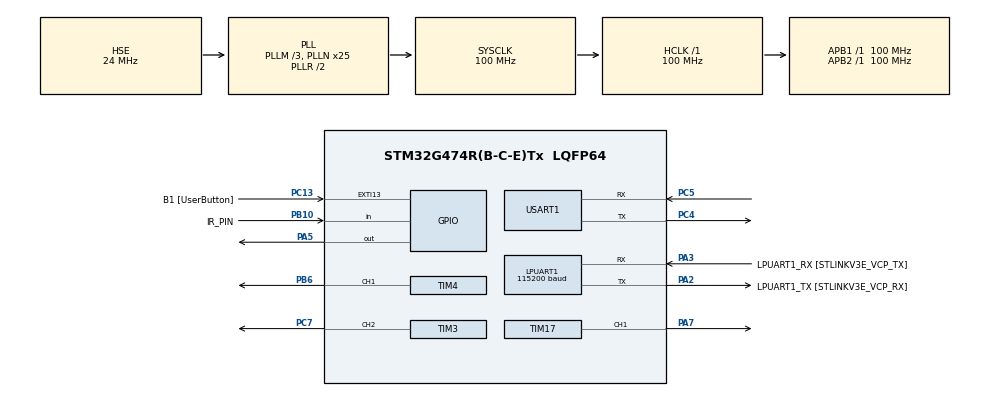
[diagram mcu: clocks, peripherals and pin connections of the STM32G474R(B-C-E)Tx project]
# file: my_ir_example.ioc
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Mcu.Family=STM32G4
TIM17.Prescaler=10*1000
RCC.CortexFreq_Value=100000000
VP_TIM17_VS_ClockSourceINT.Mode=Enable_Timer
PA14.GPIO_Label=T_SWCLK
LPUART1.WordLength=UART_WORDLENGTH_8B
PC5.Mode=Asynchronous
PC13.GPIO_Label=B1 [UserButton]
RCC.SYSCLKSource=RCC_SYSCLKSOURCE_PLLCLK
ProjectManager.StackSize=0x400
TIM17.PeriodNoDither=10*1000
RCC.HCLKFreq_Value=100000000
RCC.APB2TimFreq_Value=100000000
PB6.Signal=S_TIM4_CH1
PC7.Signal=S_TIM3_CH2
RCC.AHBFreq_Value=100000000
NVIC.EXTI15_10_IRQn=true\:0\:0\:false\:false\:true\:true\:true
RCC.HSE_VALUE=24000000
TIM17.Channel=TIM_CHANNEL_1
RCC.ADC12Freq_Value=100000000
RCC.RTCClockSelection=RCC_RTCCLKSOURCE_LSE
TIM2.PeriodNoDither=10*1000-1
PC14-OSC32_IN.Mode=LSE-External-Oscillator
PA14.Mode=Serial_Wire
TIM3.Prescaler=10*1000
NVIC.TIM2_IRQn=true\:0\:0\:false\:false\:true\:true\:true
VP_SYS_VS_DBSignals.Mode=DisableDeadBatterySignals
Mcu.Package=LQFP64
TIM2.Prescaler=1*1000-1
PA2.GPIO_Label=LPUART1_TX [STLINKV3E_VCP_RX]
TIM3.PeriodNoDither=10*1000
SH.S_TIM4_CH1.0=TIM4_CH1,PWM Generation1 CH1
RCC.APB1TimFreq_Value=100000000
PC5.Signal=USART1_RX
PF1-OSC_OUT.Mode=HSE-External-Oscillator
PF1-OSC_OUT.Signal=RCC_OSC_OUT
PC4.Mode=Asynchronous
RCC.HSI48_VALUE=48000000
PA3.Signal=LPUART1_RX
PB3.GPIO_Label=T_SWO
RCC.PLLSourceVirtual=RCC_PLLSOURCE_HSE
TIM4.Channel-PWM\ Generation1\ CH1=TIM_CHANNEL_1
PC15-OSC32_OUT.Mode=LSE-External-Oscillator
PC13.Signal=GPXTI13
TIM4.PeriodNoDither=10*1000
PC4.Signal=USART1_TX
RCC.EXTERNAL_CLOCK_VALUE=12288000
PC14-OSC32_IN.Signal=RCC_OSC32_IN
USART1.VirtualMode-Asynchronous=VM_ASYNC
PA13.Signal=SYS_JTMS-SWDIO
PA3.Mode=Asynchronous
ProjectManager.TargetToolchain=SW4STM32
PB10.GPIO_Label=IR_PIN
RCC.USBFreq_Value=100000000
TIM4.Prescaler=10*1000
PC15-OSC32_OUT.Signal=RCC_OSC32_OUT
PF0-OSC_IN.Mode=HSE-External-Oscillator
PB10.Signal=GPIO_Input
PA5.Signal=GPIO_Output
SH.S_TIM3_CH2.0=TIM3_CH2,PWM Generation2 CH2
board=NUCLEO-G474RE
RCC.VCOOutputFreq_Value=200000000
RCC.ADC345Freq_Value=100000000
RCC.APB2Freq_Value=100000000
VP_TIM2_VS_ClockSourceINT.Mode=Internal
PA13.Mode=Serial_Wire
Mcu.Name=STM32G474R(B-C-E)Tx
LPUART1.BaudRate=115200
PA13.GPIO_Label=T_SWDIO
PA2.Signal=LPUART1_TX
PB3.Signal=SYS_JTDO-SWO
RCC.SYSCLKFreq_VALUE=100000000
PC13.GPIO_ModeDefaultEXTI=GPIO_MODE_IT_FALLING
PA14.Signal=SYS_JTCK-SWCLK
ProjectManager.HeapSize=0x200
RCC.HSI_VALUE=16000000
SH.S_TIM17_CH1.0=TIM17_CH1,Output Compare1 CH1
NVIC.PriorityGroup=NVIC_PRIORITYGROUP_4
TIM3.Channel-PWM\ Generation2\ CH2=TIM_CHANNEL_2
RCC.PLLM=RCC_PLLM_DIV3
RCC.PLLN=25
PA2.Mode=Asynchronous
PF0-OSC_IN.Signal=RCC_OSC_IN
RCC.APB1Freq_Value=100000000
PA3.GPIO_Label=LPUART1_RX [STLINKV3E_VCP_TX]
PA7.Signal=S_TIM17_CH1

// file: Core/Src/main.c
/* USER CODE BEGIN Header */
/**
 ******************************************************************************
 * @file           : main.c
 * @brief          : Main program body
 ******************************************************************************
 * @attention
 *
 * <h2><center>&copy; Copyright (c) 2021 STMicroelectronics.
 * All rights reserved.</center></h2>
 *
 * This software component is licensed by ST under BSD 3-Clause license,
 * the "License"; You may not use this file except in compliance with the
 * License. You may obtain a copy of the License at:
 *                        opensource.org/licenses/BSD-3-Clause
 *
 ******************************************************************************
 */
/* USER CODE END Header */
#include "main.h"

/* USER CODE BEGIN Includes */
#include "MySTM32_IR_API.h"
/* USER CODE END Includes */

UART_HandleTypeDef hlpuart1;
UART_HandleTypeDef huart1;

TIM_HandleTypeDef htim2;
TIM_HandleTypeDef htim3;
TIM_HandleTypeDef htim4;
TIM_HandleTypeDef htim17;

void SystemClock_Config(void);
static void MX_GPIO_Init(void);
static void MX_LPUART1_UART_Init(void);
static void MX_TIM2_Init(void);
static void MX_USART1_UART_Init(void);
static void MX_TIM3_Init(void);
static void MX_TIM4_Init(void);
static void MX_TIM17_Init(void);
/* USER CODE BEGIN PFP */
static void UART_TransmitMessage(char *);
static void setPWM(TIM_HandleTypeDef, uint32_t, uint16_t, uint16_t);
/* USER CODE END PFP */

int main(void)
{
  /* USER CODE BEGIN 1 */
	char message[16];
	uint8_t isOn = 0;
	uint8_t channel1Freq = 50;
	uint8_t channel2Freq = 50;
	uint8_t channel3Freq = 50;
	uint8_t channel = 1;
  /* USER CODE END 1 */

  /* MCU Configuration--------------------------------------------------------*/

  /* Reset of all peripherals, Initializes the Flash interface and the Systick. */
  HAL_Init();

  /* Configure the system clock */
  SystemClock_Config();

  /* Initialize all configured peripherals */
  MX_GPIO_Init();
  MX_LPUART1_UART_Init();
  MX_TIM2_Init();
  MX_USART1_UART_Init();
  MX_TIM3_Init();
  MX_TIM4_Init();
  MX_TIM17_Init();
  /* USER CODE BEGIN 2 */
	My_IR_Init(&htim2, IR_PIN_GPIO_Port, IR_PIN_Pin);
	My_IR_SetAllowRepeatCommand(0);
  /* USER CODE END 2 */

  /* Infinite loop */
  /* USER CODE BEGIN WHILE */
	while (1) {

		My_IR_Listening();

		if (My_IR_ReceivedNewCommand) {

			My_IR_GetIrCommandText(message);
			UART_TransmitMessage(message);

			My_IR_ReceivedNewCommand = 0;

			switch (My_IR_Command) {

				case LG_COMMAND_ON_OFF:

					isOn = isOn ? 0 : 1;
					break;

				case LG_COMMAND_CHANNEL_1:

					channel = 1;
					break;

				case LG_COMMAND_CHANNEL_2:

					channel = 2;
					break;

				case LG_COMMAND_CHANNEL_3:

					channel = 3;
					break;

				case LG_COMMAND_CHANNEL_ADD:

					channel = channel < 3 ? channel + 1 : 1;
					break;

				case LG_COMMAND_CHANNEL_SUB:

					channel = channel > 1 ? channel - 1 : 3;
					break;

				case LG_COMMAND_VOL_ADD:

					if(channel == 1) channel1Freq = channel1Freq > 5 ? channel1Freq - 5 : 5;
					if(channel == 2) channel2Freq = channel2Freq > 5 ? channel2Freq - 5 : 5;
					if(channel == 3) channel3Freq = channel3Freq > 5 ? channel3Freq - 5 : 5;
					break;

				case LG_COMMAND_VOL_SUB:

					if(channel == 1) channel1Freq = channel1Freq < 50 ? channel1Freq + 5 : 50;
					if(channel == 2) channel2Freq = channel2Freq < 50 ? channel2Freq + 5 : 50;
					if(channel == 3) channel3Freq = channel3Freq < 50 ? channel3Freq + 5 : 50;
					break;

				case LG_COMMAND_MUTE:

					if(channel == 1) channel1Freq = channel1Freq == 0 ? 50 : 0;
					if(channel == 2) channel2Freq = channel2Freq == 0 ? 50 : 0;
					if(channel == 3) channel3Freq = channel3Freq == 0 ? 50 : 0;
					break;

				default:
					break;
			}

			setPWM(htim3, TIM_CHANNEL_2, channel1Freq == 0 ? 5 : channel1Freq * 200, channel1Freq * 100 * isOn * (channel == 1));
			setPWM(htim17, TIM_CHANNEL_1, channel2Freq == 0 ? 5 : channel2Freq * 200, channel2Freq * 100 * isOn * (channel == 2));
			setPWM(htim4, TIM_CHANNEL_1, channel3Freq == 0 ? 5 : channel3Freq * 200, channel3Freq * 100 * isOn * (channel == 3));
		}
	}
  /* USER CODE END 3 */
}

void SystemClock_Config(void)
{
  RCC_OscInitTypeDef RCC_OscInitStruct = {0};
  RCC_ClkInitTypeDef RCC_ClkInitStruct = {0};
  RCC_PeriphCLKInitTypeDef PeriphClkInit = {0};

  /** Configure the main internal regulator output voltage
  */
  HAL_PWREx_ControlVoltageScaling(PWR_REGULATOR_VOLTAGE_SCALE1);
  /** Initializes the RCC Oscillators according to the specified parameters
  * in the RCC_OscInitTypeDef structure.
  */
  RCC_OscInitStruct.OscillatorType = RCC_OSCILLATORTYPE_HSE;
  RCC_OscInitStruct.HSEState = RCC_HSE_ON;
  RCC_OscInitStruct.PLL.PLLState = RCC_PLL_ON;
  RCC_OscInitStruct.PLL.PLLSource = RCC_PLLSOURCE_HSE;
  RCC_OscInitStruct.PLL.PLLM = RCC_PLLM_DIV3;
  RCC_OscInitStruct.PLL.PLLN = 25;
  RCC_OscInitStruct.PLL.PLLP = RCC_PLLP_DIV2;
  RCC_OscInitStruct.PLL.PLLQ = RCC_PLLQ_DIV2;
  RCC_OscInitStruct.PLL.PLLR = RCC_PLLR_DIV2;
  if (HAL_RCC_OscConfig(&RCC_OscInitStruct) != HAL_OK)
  {
    Error_Handler();
  }
  /** Initializes the CPU, AHB and APB buses clocks
  */
  RCC_ClkInitStruct.ClockType = RCC_CLOCKTYPE_HCLK|RCC_CLOCKTYPE_SYSCLK
                              |RCC_CLOCKTYPE_PCLK1|RCC_CLOCKTYPE_PCLK2;
  RCC_ClkInitStruct.SYSCLKSource = RCC_SYSCLKSOURCE_PLLCLK;
  RCC_ClkInitStruct.AHBCLKDivider = RCC_SYSCLK_DIV1;
  RCC_ClkInitStruct.APB1CLKDivider = RCC_HCLK_DIV1;
  RCC_ClkInitStruct.APB2CLKDivider = RCC_HCLK_DIV1;

  if (HAL_RCC_ClockConfig(&RCC_ClkInitStruct, FLASH_LATENCY_2) != HAL_OK)
  {
    Error_Handler();
  }
  /** Initializes the peripherals clocks
  */
  PeriphClkInit.PeriphClockSelection = RCC_PERIPHCLK_USART1|RCC_PERIPHCLK_LPUART1;
  PeriphClkInit.Usart1ClockSelection = RCC_USART1CLKSOURCE_PCLK2;
  PeriphClkInit.Lpuart1ClockSelection = RCC_LPUART1CLKSOURCE_PCLK1;
  if (HAL_RCCEx_PeriphCLKConfig(&PeriphClkInit) != HAL_OK)
  {
    Error_Handler();
  }
}

static void MX_LPUART1_UART_Init(void)
{

  hlpuart1.Instance = LPUART1;
  hlpuart1.Init.BaudRate = 115200;
  hlpuart1.Init.WordLength = UART_WORDLENGTH_8B;
  hlpuart1.Init.StopBits = UART_STOPBITS_1;
  hlpuart1.Init.Parity = UART_PARITY_NONE;
  hlpuart1.Init.Mode = UART_MODE_TX_RX;
  hlpuart1.Init.HwFlowCtl = UART_HWCONTROL_NONE;
  hlpuart1.Init.OneBitSampling = UART_ONE_BIT_SAMPLE_DISABLE;
  hlpuart1.AdvancedInit.AdvFeatureInit = UART_ADVFEATURE_NO_INIT;
  if (HAL_UART_Init(&hlpuart1) != HAL_OK)
  {
    Error_Handler();
  }
  if (HAL_UARTEx_SetTxFifoThreshold(&hlpuart1, UART_TXFIFO_THRESHOLD_1_8) != HAL_OK)
  {
    Error_Handler();
  }
  if (HAL_UARTEx_SetRxFifoThreshold(&hlpuart1, UART_RXFIFO_THRESHOLD_1_8) != HAL_OK)
  {
    Error_Handler();
  }
  if (HAL_UARTEx_DisableFifoMode(&hlpuart1) != HAL_OK)
  {
    Error_Handler();
  }

}

static void MX_USART1_UART_Init(void)
{

  huart1.Instance = USART1;
  huart1.Init.BaudRate = 115200;
  huart1.Init.WordLength = UART_WORDLENGTH_8B;
  huart1.Init.StopBits = UART_STOPBITS_1;
  huart1.Init.Parity = UART_PARITY_NONE;
  huart1.Init.Mode = UART_MODE_TX_RX;
  huart1.Init.HwFlowCtl = UART_HWCONTROL_NONE;
  huart1.Init.OverSampling = UART_OVERSAMPLING_16;
  huart1.Init.OneBitSampling = UART_ONE_BIT_SAMPLE_DISABLE;
  huart1.Init.ClockPrescaler = UART_PRESCALER_DIV1;
  huart1.AdvancedInit.AdvFeatureInit = UART_ADVFEATURE_NO_INIT;
  if (HAL_UART_Init(&huart1) != HAL_OK)
  {
    Error_Handler();
  }
  if (HAL_UARTEx_SetTxFifoThreshold(&huart1, UART_TXFIFO_THRESHOLD_1_8) != HAL_OK)
  {
    Error_Handler();
  }
  if (HAL_UARTEx_SetRxFifoThreshold(&huart1, UART_RXFIFO_THRESHOLD_1_8) != HAL_OK)
  {
    Error_Handler();
  }
  if (HAL_UARTEx_DisableFifoMode(&huart1) != HAL_OK)
  {
    Error_Handler();
  }

}

static void MX_TIM2_Init(void)
{

  TIM_ClockConfigTypeDef sClockSourceConfig = {0};
  TIM_MasterConfigTypeDef sMasterConfig = {0};

  htim2.Instance = TIM2;
  htim2.Init.Prescaler = 1*1000-1;
  htim2.Init.CounterMode = TIM_COUNTERMODE_UP;
  htim2.Init.Period = 9999;
  htim2.Init.ClockDivision = TIM_CLOCKDIVISION_DIV1;
  htim2.Init.AutoReloadPreload = TIM_AUTORELOAD_PRELOAD_DISABLE;
  if (HAL_TIM_Base_Init(&htim2) != HAL_OK)
  {
    Error_Handler();
  }
  sClockSourceConfig.ClockSource = TIM_CLOCKSOURCE_INTERNAL;
  if (HAL_TIM_ConfigClockSource(&htim2, &sClockSourceConfig) != HAL_OK)
  {
    Error_Handler();
  }
  sMasterConfig.MasterOutputTrigger = TIM_TRGO_RESET;
  sMasterConfig.MasterSlaveMode = TIM_MASTERSLAVEMODE_DISABLE;
  if (HAL_TIMEx_MasterConfigSynchronization(&htim2, &sMasterConfig) != HAL_OK)
  {
    Error_Handler();
  }

}

static void MX_TIM3_Init(void)
{

  TIM_MasterConfigTypeDef sMasterConfig = {0};
  TIM_OC_InitTypeDef sConfigOC = {0};

  htim3.Instance = TIM3;
  htim3.Init.Prescaler = 10*1000;
  htim3.Init.CounterMode = TIM_COUNTERMODE_UP;
  htim3.Init.Period = 10000;
  htim3.Init.ClockDivision = TIM_CLOCKDIVISION_DIV1;
  htim3.Init.AutoReloadPreload = TIM_AUTORELOAD_PRELOAD_DISABLE;
  if (HAL_TIM_PWM_Init(&htim3) != HAL_OK)
  {
    Error_Handler();
  }
  sMasterConfig.MasterOutputTrigger = TIM_TRGO_RESET;
  sMasterConfig.MasterSlaveMode = TIM_MASTERSLAVEMODE_DISABLE;
  if (HAL_TIMEx_MasterConfigSynchronization(&htim3, &sMasterConfig) != HAL_OK)
  {
    Error_Handler();
  }
  sConfigOC.OCMode = TIM_OCMODE_PWM1;
  sConfigOC.Pulse = 0;
  sConfigOC.OCPolarity = TIM_OCPOLARITY_HIGH;
  sConfigOC.OCFastMode = TIM_OCFAST_DISABLE;
  if (HAL_TIM_PWM_ConfigChannel(&htim3, &sConfigOC, TIM_CHANNEL_2) != HAL_OK)
  {
    Error_Handler();
  }
  HAL_TIM_MspPostInit(&htim3);

}

static void MX_TIM4_Init(void)
{

  TIM_MasterConfigTypeDef sMasterConfig = {0};
  TIM_OC_InitTypeDef sConfigOC = {0};

  htim4.Instance = TIM4;
  htim4.Init.Prescaler = 10*1000;
  htim4.Init.CounterMode = TIM_COUNTERMODE_UP;
  htim4.Init.Period = 10000;
  htim4.Init.ClockDivision = TIM_CLOCKDIVISION_DIV1;
  htim4.Init.AutoReloadPreload = TIM_AUTORELOAD_PRELOAD_DISABLE;
  if (HAL_TIM_PWM_Init(&htim4) != HAL_OK)
  {
    Error_Handler();
  }
  sMasterConfig.MasterOutputTrigger = TIM_TRGO_RESET;
  sMasterConfig.MasterSlaveMode = TIM_MASTERSLAVEMODE_DISABLE;
  if (HAL_TIMEx_MasterConfigSynchronization(&htim4, &sMasterConfig) != HAL_OK)
  {
    Error_Handler();
  }
  sConfigOC.OCMode = TIM_OCMODE_PWM1;
  sConfigOC.Pulse = 0;
  sConfigOC.OCPolarity = TIM_OCPOLARITY_HIGH;
  sConfigOC.OCFastMode = TIM_OCFAST_DISABLE;
  if (HAL_TIM_PWM_ConfigChannel(&htim4, &sConfigOC, TIM_CHANNEL_1) != HAL_OK)
  {
    Error_Handler();
  }
  HAL_TIM_MspPostInit(&htim4);

}

static void MX_TIM17_Init(void)
{

  TIM_OC_InitTypeDef sConfigOC = {0};
  TIM_BreakDeadTimeConfigTypeDef sBreakDeadTimeConfig = {0};

  htim17.Instance = TIM17;
  htim17.Init.Prescaler = 10*1000;
  htim17.Init.CounterMode = TIM_COUNTERMODE_UP;
  htim17.Init.Period = 10000;
  htim17.Init.ClockDivision = TIM_CLOCKDIVISION_DIV1;
  htim17.Init.RepetitionCounter = 0;
  htim17.Init.AutoReloadPreload = TIM_AUTORELOAD_PRELOAD_DISABLE;
  if (HAL_TIM_Base_Init(&htim17) != HAL_OK)
  {
    Error_Handler();
  }
  if (HAL_TIM_OC_Init(&htim17) != HAL_OK)
  {
    Error_Handler();
  }
  sConfigOC.OCMode = TIM_OCMODE_TIMING;
  sConfigOC.Pulse = 0;
  sConfigOC.OCPolarity = TIM_OCPOLARITY_HIGH;
  sConfigOC.OCNPolarity = TIM_OCNPOLARITY_HIGH;
  sConfigOC.OCFastMode = TIM_OCFAST_DISABLE;
  sConfigOC.OCIdleState = TIM_OCIDLESTATE_RESET;
  sConfigOC.OCNIdleState = TIM_OCNIDLESTATE_RESET;
  if (HAL_TIM_OC_ConfigChannel(&htim17, &sConfigOC, TIM_CHANNEL_1) != HAL_OK)
  {
    Error_Handler();
  }
  sBreakDeadTimeConfig.OffStateRunMode = TIM_OSSR_DISABLE;
  sBreakDeadTimeConfig.OffStateIDLEMode = TIM_OSSI_DISABLE;
  sBreakDeadTimeConfig.LockLevel = TIM_LOCKLEVEL_OFF;
  sBreakDeadTimeConfig.DeadTime = 0;
  sBreakDeadTimeConfig.BreakState = TIM_BREAK_DISABLE;
  sBreakDeadTimeConfig.BreakPolarity = TIM_BREAKPOLARITY_HIGH;
  sBreakDeadTimeConfig.BreakFilter = 0;
  sBreakDeadTimeConfig.AutomaticOutput = TIM_AUTOMATICOUTPUT_DISABLE;
  if (HAL_TIMEx_ConfigBreakDeadTime(&htim17, &sBreakDeadTimeConfig) != HAL_OK)
  {
    Error_Handler();
  }
  HAL_TIM_MspPostInit(&htim17);

}

static void MX_GPIO_Init(void)
{
  GPIO_InitTypeDef GPIO_InitStruct = {0};

  /* GPIO Ports Clock Enable */
  __HAL_RCC_GPIOC_CLK_ENABLE();
  __HAL_RCC_GPIOF_CLK_ENABLE();
  __HAL_RCC_GPIOA_CLK_ENABLE();
  __HAL_RCC_GPIOB_CLK_ENABLE();

  /*Configure GPIO pin Output Level */
  HAL_GPIO_WritePin(GPIOA, GPIO_PIN_5, GPIO_PIN_RESET);

  /*Configure GPIO pin : B1_Pin */
  GPIO_InitStruct.Pin = B1_Pin;
  GPIO_InitStruct.Mode = GPIO_MODE_IT_FALLING;
  GPIO_InitStruct.Pull = GPIO_NOPULL;
  HAL_GPIO_Init(B1_GPIO_Port, &GPIO_InitStruct);

  /*Configure GPIO pin : PA5 */
  GPIO_InitStruct.Pin = GPIO_PIN_5;
  GPIO_InitStruct.Mode = GPIO_MODE_OUTPUT_PP;
  GPIO_InitStruct.Pull = GPIO_NOPULL;
  GPIO_InitStruct.Speed = GPIO_SPEED_FREQ_LOW;
  HAL_GPIO_Init(GPIOA, &GPIO_InitStruct);

  /*Configure GPIO pin : IR_PIN_Pin */
  GPIO_InitStruct.Pin = IR_PIN_Pin;
  GPIO_InitStruct.Mode = GPIO_MODE_INPUT;
  GPIO_InitStruct.Pull = GPIO_NOPULL;
  HAL_GPIO_Init(IR_PIN_GPIO_Port, &GPIO_InitStruct);

  /* EXTI interrupt init*/
  HAL_NVIC_SetPriority(EXTI15_10_IRQn, 0, 0);
  HAL_NVIC_EnableIRQ(EXTI15_10_IRQn);

}

/* USER CODE BEGIN 4 */
void UART_TransmitMessage(char * message) {

	char * newLineChar = "\n";
	strcat(message, newLineChar);

	HAL_UART_Transmit(&huart1, (uint8_t *) message, strlen(message), 1000);
}

static void setPWM(TIM_HandleTypeDef timer, uint32_t channel, uint16_t period, uint16_t pulse) {

	TIM_OC_InitTypeDef sConfigOC;
	sConfigOC.OCMode = TIM_OCMODE_PWM1;
	sConfigOC.Pulse = pulse;
	sConfigOC.OCPolarity = TIM_OCPOLARITY_HIGH;
	sConfigOC.OCNPolarity = TIM_OCNPOLARITY_HIGH;
	sConfigOC.OCFastMode = TIM_OCFAST_DISABLE;
	sConfigOC.OCIdleState = TIM_OCIDLESTATE_RESET;
	sConfigOC.OCNIdleState = TIM_OCNIDLESTATE_RESET;

	timer.Init.Period = period;

	HAL_TIM_PWM_Stop(&timer, channel);
	HAL_TIM_PWM_Init(&timer);
	HAL_TIM_PWM_ConfigChannel(&timer, &sConfigOC, channel);
	HAL_TIM_PWM_Start(&timer, channel);
	__HAL_TIM_SET_COMPARE(&timer, channel, pulse);
}
/* USER CODE END 4 */

void Error_Handler(void)
{
}

/************************ (C) COPYRIGHT STMicroelectronics *****END OF FILE****/
